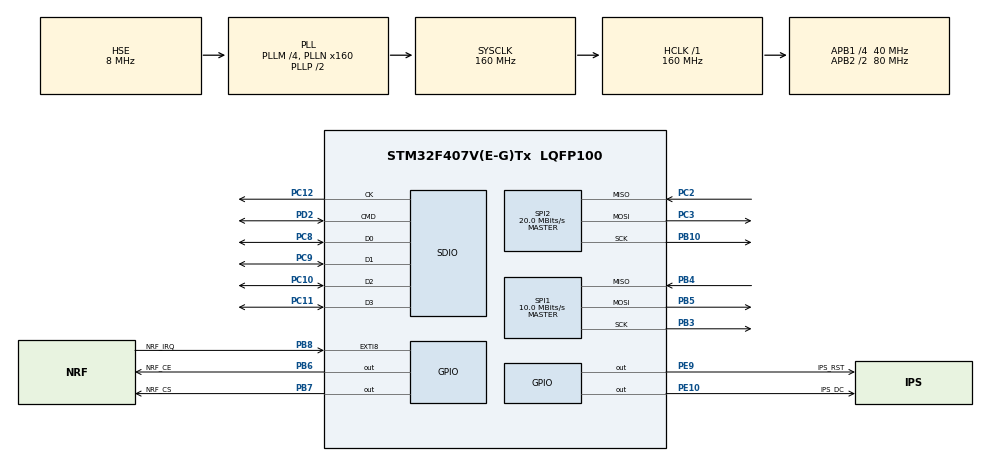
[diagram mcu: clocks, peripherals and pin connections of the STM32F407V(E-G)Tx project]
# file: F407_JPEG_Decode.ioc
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FATFS._CODE_PAGE=936
FATFS._USE_LFN=3
Mcu.Family=STM32F4
Mcu.Name=STM32F407V(E-G)Tx
Mcu.Package=LQFP100
NVIC.EXTI9_5_IRQn=true\:0\:0\:false\:false\:true\:true\:true
NVIC.PriorityGroup=NVIC_PRIORITYGROUP_4
NVIC.SDIO_IRQn=true\:0\:0\:false\:false\:true\:true\:true
NVIC.SPI1_IRQn=true\:0\:0\:false\:false\:true\:true\:true
NVIC.SPI2_IRQn=true\:0\:0\:false\:false\:true\:true\:true
PA13.Mode=Serial_Wire
PA13.Signal=SYS_JTMS-SWDIO
PA14.Mode=Serial_Wire
PA14.Signal=SYS_JTCK-SWCLK
PB10.Mode=Full_Duplex_Master
PB10.Signal=SPI2_SCK
PB3.GPIO_Mode=GPIO_MODE_AF_PP
PB3.GPIO_PuPd=GPIO_NOPULL
PB3.GPIO_Speed=GPIO_SPEED_FREQ_VERY_HIGH
PB3.Mode=Full_Duplex_Master
PB3.Signal=SPI1_SCK
PB4.GPIO_Mode=GPIO_MODE_AF_PP
PB4.GPIO_PuPd=GPIO_NOPULL
PB4.GPIO_Speed=GPIO_SPEED_FREQ_VERY_HIGH
PB4.Mode=Full_Duplex_Master
PB4.Signal=SPI1_MISO
PB5.GPIO_Mode=GPIO_MODE_AF_PP
PB5.GPIO_PuPd=GPIO_NOPULL
PB5.GPIO_Speed=GPIO_SPEED_FREQ_VERY_HIGH
PB5.Mode=Full_Duplex_Master
PB5.Signal=SPI1_MOSI
PB6.GPIO_Label=NRF_CE
PB6.GPIO_ModeDefaultOutputPP=GPIO_MODE_OUTPUT_PP
PB6.GPIO_PuPd=GPIO_NOPULL
PB6.GPIO_Speed=GPIO_SPEED_FREQ_VERY_HIGH
PB6.PinState=GPIO_PIN_SET
PB6.Signal=GPIO_Output
PB7.GPIO_Label=NRF_CS
PB7.GPIO_ModeDefaultOutputPP=GPIO_MODE_OUTPUT_PP
PB7.GPIO_PuPd=GPIO_NOPULL
PB7.GPIO_Speed=GPIO_SPEED_FREQ_VERY_HIGH
PB7.PinState=GPIO_PIN_RESET
PB7.Signal=GPIO_Output
PB8.GPIO_Label=NRF_IRQ
PB8.Signal=GPXTI8
PC10.Mode=SD_4_bits_Wide_bus
PC10.Signal=SDIO_D2
PC11.Mode=SD_4_bits_Wide_bus
PC11.Signal=SDIO_D3
PC12.Mode=SD_4_bits_Wide_bus
PC12.Signal=SDIO_CK
PC14-OSC32_IN.Mode=LSE-External-Oscillator
PC14-OSC32_IN.Signal=RCC_OSC32_IN
PC15-OSC32_OUT.Mode=LSE-External-Oscillator
PC15-OSC32_OUT.Signal=RCC_OSC32_OUT
PC2.Mode=Full_Duplex_Master
PC2.Signal=SPI2_MISO
PC3.Mode=Full_Duplex_Master
PC3.Signal=SPI2_MOSI
PC8.Mode=SD_4_bits_Wide_bus
PC8.Signal=SDIO_D0
PC9.Mode=SD_4_bits_Wide_bus
PC9.Signal=SDIO_D1
PD2.Mode=SD_4_bits_Wide_bus
PD2.Signal=SDIO_CMD
PE10.GPIO_Label=IPS_DC
PE10.GPIO_ModeDefaultOutputPP=GPIO_MODE_OUTPUT_PP
PE10.GPIO_PuPd=GPIO_NOPULL
PE10.GPIO_Speed=GPIO_SPEED_FREQ_VERY_HIGH
PE10.PinState=GPIO_PIN_RESET
PE10.Signal=GPIO_Output
PE9.GPIO_Label=IPS_RST
PE9.GPIO_ModeDefaultOutputPP=GPIO_MODE_OUTPUT_PP
PE9.GPIO_PuPd=GPIO_NOPULL
PE9.GPIO_Speed=GPIO_SPEED_FREQ_VERY_HIGH
PE9.PinState=GPIO_PIN_RESET
PE9.Signal=GPIO_Output
PH0-OSC_IN.Mode=HSE-External-Oscillator
PH0-OSC_IN.Signal=RCC_OSC_IN
PH1-OSC_OUT.Mode=HSE-External-Oscillator
PH1-OSC_OUT.Signal=RCC_OSC_OUT
ProjectManager.HeapSize=0x1000
ProjectManager.StackSize=0x800
ProjectManager.TargetToolchain=Makefile
RCC.48MHZClocksFreq_Value=45714285.71428572
RCC.AHBFreq_Value=160000000
RCC.APB1CLKDivider=RCC_HCLK_DIV4
RCC.APB1Freq_Value=40000000
RCC.APB1TimFreq_Value=80000000
RCC.APB2CLKDivider=RCC_HCLK_DIV2
RCC.APB2Freq_Value=80000000
RCC.APB2TimFreq_Value=160000000
RCC.CortexFreq_Value=160000000
RCC.HCLKFreq_Value=160000000
RCC.HSE_VALUE=8000000
RCC.HSI_VALUE=16000000
RCC.PLLM=4
RCC.PLLN=160
RCC.PLLQ=7
RCC.PLLSourceVirtual=RCC_PLLSOURCE_HSE
RCC.SYSCLKFreq_VALUE=160000000
RCC.SYSCLKSource=RCC_SYSCLKSOURCE_PLLCLK
RCC.VCOOutputFreq_Value=320000000
SPI1.BaudRatePrescaler=SPI_BAUDRATEPRESCALER_8
SPI1.CalculateBaudRate=10.0 MBits/s
SPI1.Direction=SPI_DIRECTION_2LINES
SPI1.Mode=SPI_MODE_MASTER
SPI1.VirtualType=VM_MASTER
SPI2.BaudRatePrescaler=SPI_BAUDRATEPRESCALER_2
SPI2.CalculateBaudRate=20.0 MBits/s
SPI2.Direction=SPI_DIRECTION_2LINES
SPI2.Mode=SPI_MODE_MASTER
SPI2.VirtualType=VM_MASTER
VP_FATFS_VS_SDIO.Mode=SDIO
VP_LIBJPEG_VS_JPEGLIB.Mode=Enabled
board=custom

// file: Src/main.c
/* USER CODE BEGIN Header */
/**
  ******************************************************************************
  * @file           : main.c
  * @brief          : Main program body
  ******************************************************************************
  * @attention
  *
  * <h2><center>&copy; Copyright (c) 2019 STMicroelectronics.
  * All rights reserved.</center></h2>
  *
  * This software component is licensed by ST under Ultimate Liberty license
  * SLA0044, the "License"; You may not use this file except in compliance with
  * the License. You may obtain a copy of the License at:
  *                             www.st.com/SLA0044
  *
  ******************************************************************************
  */
/* USER CODE END Header */

#include "main.h"
#include "fatfs.h"
#include "libjpeg.h"
#include "sdio.h"
#include "spi.h"
#include "gpio.h"

/* USER CODE BEGIN Includes */
#include "stdio.h"
#include "stdlib.h"
#include "st7789.h"
/* USER CODE END Includes */

/* USER CODE BEGIN PV */
FATFS fs;
FIL fil;
/* USER CODE END PV */

void SystemClock_Config(void);

/* USER CODE BEGIN 0 */
void drawPic666(uint16_t x,uint16_t y, const char * fileName){
  char * logs[20];
  retSD = f_open(&fil,fileName,FA_READ);
  struct jpeg_decompress_struct cinfo;
  struct jpeg_error_mgr jerr;
  cinfo.err = jpeg_std_error(&jerr);
  jpeg_create_decompress(&cinfo);
  jpeg_stdio_src(&cinfo,&fil);
  (void) jpeg_read_header(&cinfo, TRUE);
  //cinfo.scale_num=1;
  //cinfo.scale_denom=2;
  (void) jpeg_start_decompress(&cinfo);

  JSAMPARRAY buffer;
  uint32_t row_stride = cinfo.output_width * cinfo.output_components;
  buffer = (*cinfo.mem->alloc_sarray)((j_common_ptr) &cinfo, JPOOL_IMAGE, row_stride, 1);
  ST7789_WriteCommand(0x3A);
  {
    uint8_t data[] = {0x06};
    ST7789_WriteData(data, sizeof(data));
  }
  while(cinfo.output_scanline < cinfo.output_height)  {
    (void) jpeg_read_scanlines(&cinfo, buffer, 1);
    //do something
    for(int i=0;i<cinfo.output_width;i++){
      ST7789_DrawPixel666(x + i ,y + cinfo.output_scanline - 1,buffer[0][i*3],buffer[0][i*3+1],buffer[0][i*3+2]);
    }
  }
  (void) jpeg_finish_decompress(&cinfo);
  jpeg_destroy_decompress(&cinfo);

  retSD = f_close(&fil);

  ST7789_WriteCommand(0x3A);
  {
    uint8_t data[] = {0x05};
    ST7789_WriteData(data, sizeof(data));
  }
  ST7789_WriteString(0,90,(retSD)?"Fail":"OK",Font_7x10,(retSD)?RED:GREEN,BLACK);
}
/* USER CODE END 0 */

int main(void)
{

  /* MCU Configuration--------------------------------------------------------*/

  /* Reset of all peripherals, Initializes the Flash interface and the Systick. */
  HAL_Init();

  /* Configure the system clock */
  SystemClock_Config();

  /* Initialize all configured peripherals */
  MX_GPIO_Init();
  MX_SDIO_SD_Init();
  MX_SPI1_Init();
  MX_SPI2_Init();
  MX_FATFS_Init();
  MX_LIBJPEG_Init();
  /* USER CODE BEGIN 2 */
  ST7789_Init();
  //ST7789_Test();
  //HAL_Delay(1000);
  ST7789_Fill_Color(BLACK);
  char * logs[20];
  retSD = f_mount(&fs,"",0);
  sprintf(logs,"SD Mount:%d",retSD);
  ST7789_WriteString(0,0,logs,Font_7x10,(retSD)?RED:GREEN,BLACK);
  uint8_t nu = 1;
  for (nu = 1;nu<309;nu++){
    char File[10] ;
    sprintf(File,"%d.jpg",nu);
    ST7789_WriteString(0,80,File,Font_7x10,GREEN,BLACK);
    drawPic666(0,0,File);
  }
  /* USER CODE END 2 */

  /* Infinite loop */
  while (1)
  {

  }
}

void SystemClock_Config(void)
{
  RCC_OscInitTypeDef RCC_OscInitStruct = {0};
  RCC_ClkInitTypeDef RCC_ClkInitStruct = {0};

  /** Configure the main internal regulator output voltage
  */
  __HAL_RCC_PWR_CLK_ENABLE();
  __HAL_PWR_VOLTAGESCALING_CONFIG(PWR_REGULATOR_VOLTAGE_SCALE1);
  /** Initializes the CPU, AHB and APB busses clocks
  */
  RCC_OscInitStruct.OscillatorType = RCC_OSCILLATORTYPE_HSE;
  RCC_OscInitStruct.HSEState = RCC_HSE_ON;
  RCC_OscInitStruct.PLL.PLLState = RCC_PLL_ON;
  RCC_OscInitStruct.PLL.PLLSource = RCC_PLLSOURCE_HSE;
  RCC_OscInitStruct.PLL.PLLM = 4;
  RCC_OscInitStruct.PLL.PLLN = 160;
  RCC_OscInitStruct.PLL.PLLP = RCC_PLLP_DIV2;
  RCC_OscInitStruct.PLL.PLLQ = 7;
  if (HAL_RCC_OscConfig(&RCC_OscInitStruct) != HAL_OK)
  {
    Error_Handler();
  }
  /** Initializes the CPU, AHB and APB busses clocks
  */
  RCC_ClkInitStruct.ClockType = RCC_CLOCKTYPE_HCLK|RCC_CLOCKTYPE_SYSCLK
                              |RCC_CLOCKTYPE_PCLK1|RCC_CLOCKTYPE_PCLK2;
  RCC_ClkInitStruct.SYSCLKSource = RCC_SYSCLKSOURCE_PLLCLK;
  RCC_ClkInitStruct.AHBCLKDivider = RCC_SYSCLK_DIV1;
  RCC_ClkInitStruct.APB1CLKDivider = RCC_HCLK_DIV4;
  RCC_ClkInitStruct.APB2CLKDivider = RCC_HCLK_DIV2;

  if (HAL_RCC_ClockConfig(&RCC_ClkInitStruct, FLASH_LATENCY_5) != HAL_OK)
  {
    Error_Handler();
  }
}

void Error_Handler(void)
{
  /* USER CODE BEGIN Error_Handler_Debug */
  /* User can add his own implementation to report the HAL error return state */
  ST7789_Fill_Color(RED);
  /* USER CODE END Error_Handler_Debug */
}

/************************ (C) COPYRIGHT STMicroelectronics *****END OF FILE****/
